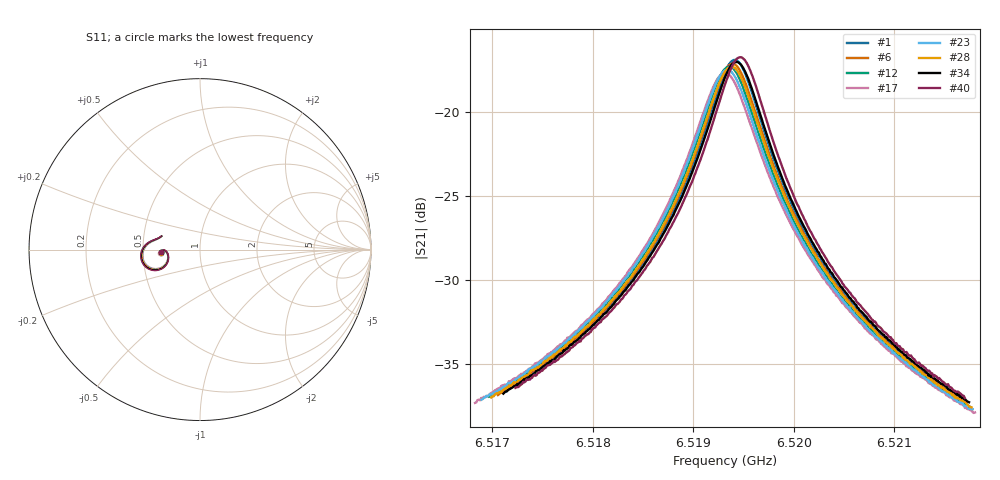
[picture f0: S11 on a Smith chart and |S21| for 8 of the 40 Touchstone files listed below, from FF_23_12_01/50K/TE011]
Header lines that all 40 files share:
#  HZ  S  RI  R  50.00
! Rohde & Schwarz Vector Network Analyzer
! Rohde-Schwarz,ZNB20-2Port,1311601062101988,3.16
! freq[Hz]  re:S11  im:S11  re:S21  im:S21  re:S12  im:S12  re:S22  im:S22
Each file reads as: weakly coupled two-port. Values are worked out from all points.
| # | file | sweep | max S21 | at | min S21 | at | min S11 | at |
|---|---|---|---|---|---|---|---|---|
| 1 | 1_1_48.1037_50.1338768_0.06_.s2p | 6.517138 GHz to 6.521684 GHz | -16.89 dB | 6.519411 GHz | -37.2 dB | 6.521684 GHz | -14.5 dB | 6.518991 GHz |
| 2 | 2_1_48.0978_50.1339569_0.09_.s2p | 6.517132 GHz to 6.521691 GHz | -16.89 dB | 6.519412 GHz | -37.2 dB | 6.521691 GHz | -14.5 dB | 6.519001 GHz |
| 3 | 4_1_48.0984_50.1341057_1135.621_.s2p | 6.517139 GHz to 6.521689 GHz | -16.88 dB | 6.519414 GHz | -37.2 dB | 6.521689 GHz | -14.4 dB | 6.519005 GHz |
| 4 | 19_1_48.1014_50.1323433_9984.517_.s2p | 6.517128 GHz to 6.521694 GHz | -16.90 dB | 6.519411 GHz | -37.2 dB | 6.521694 GHz | -14.5 dB | 6.519 GHz |
| 5 | 42_1_48.1018_50.1207581_24088.279_.s2p | 6.517072 GHz to 6.52171 GHz | -17.06 dB | 6.519391 GHz | -37.3 dB | 6.52171 GHz | -14.4 dB | 6.518974 GHz |
| 6 | 45_1_48.1027_50.1146088_26300.459_.s2p | 6.517056 GHz to 6.521722 GHz | -17.11 dB | 6.519389 GHz | -37.5 dB | 6.521722 GHz | -14.4 dB | 6.518969 GHz |
| 7 | 52_1_48.1005_50.1085739_30294.979_.s2p | 6.517046 GHz to 6.521721 GHz | -17.11 dB | 6.519384 GHz | -37.4 dB | 6.521698 GHz | -14.4 dB | 6.518963 GHz |
| 8 | 57_1_48.0976_50.1040878_33450.852_.s2p | 6.517036 GHz to 6.521723 GHz | -17.11 dB | 6.51938 GHz | -37.4 dB | 6.521711 GHz | -14.4 dB | 6.518934 GHz |
| 9 | 59_1_48.0997_50.1018982_34584.859_.s2p | 6.517037 GHz to 6.521718 GHz | -17.11 dB | 6.519378 GHz | -37.5 dB | 6.521718 GHz | -14.4 dB | 6.518968 GHz |
| 10 | 60_1_48.0996_50.1002312_35176.406_.s2p | 6.517037 GHz to 6.521717 GHz | -17.11 dB | 6.519377 GHz | -37.4 dB | 6.521717 GHz | -14.4 dB | 6.518956 GHz |
| 11 | 76_1_48.1026_50.0837631_44927.82_.s2p | 6.517011 GHz to 6.521719 GHz | -17.17 dB | 6.519365 GHz | -37.5 dB | 6.521707 GHz | -14.4 dB | 6.518941 GHz |
| 12 | 89_1_48.0998_50.0728683_52662.977_.s2p | 6.51697 GHz to 6.521744 GHz | -17.28 dB | 6.519357 GHz | -37.6 dB | 6.521744 GHz | -14.4 dB | 6.518915 GHz |
| 13 | 103_1_48.1044_50.0611458_61230.844_.s2p | 6.516937 GHz to 6.521757 GHz | -17.39 dB | 6.519347 GHz | -37.7 dB | 6.521745 GHz | -14.4 dB | 6.518913 GHz |
| 14 | 117_1_48.0993_50.0492134_69583.305_.s2p | 6.516894 GHz to 6.52178 GHz | -17.49 dB | 6.519337 GHz | -37.8 dB | 6.52178 GHz | -14.3 dB | 6.518909 GHz |
| 15 | 118_1_48.0977_50.0481567_70177.602_.s2p | 6.51689 GHz to 6.521781 GHz | -17.50 dB | 6.519336 GHz | -37.8 dB | 6.521781 GHz | -14.3 dB | 6.518908 GHz |
| 16 | 133_1_48.0968_50.0320702_79378.68_.s2p | 6.516858 GHz to 6.521789 GHz | -17.59 dB | 6.519324 GHz | -37.9 dB | 6.521777 GHz | -14.3 dB | 6.51888 GHz |
| 17 | 143_1_48.1004_50.0262222_85405.383_.s2p | 6.516828 GHz to 6.521802 GHz | -17.64 dB | 6.519315 GHz | -37.9 dB | 6.52179 GHz | -14.3 dB | 6.518892 GHz |
| 18 | 147_1_48.101_50.0213089_87733.609_.s2p | 6.516812 GHz to 6.52181 GHz | -17.67 dB | 6.519311 GHz | -38.0 dB | 6.521797 GHz | -14.3 dB | 6.518861 GHz |
| 19 | 151_1_48.0972_50.0175705_90004.641_.s2p | 6.516807 GHz to 6.521807 GHz | -17.67 dB | 6.519307 GHz | -37.9 dB | 6.521807 GHz | -14.3 dB | 6.518882 GHz |
| 20 | 156_1_48.101_50.0202179_87586.953_.s2p | 6.516826 GHz to 6.521796 GHz | -17.62 dB | 6.519311 GHz | -37.9 dB | 6.521796 GHz | -14.3 dB | 6.518889 GHz |
| 21 | 168_1_48.1003_50.0320816_80446.367_.s2p | 6.516848 GHz to 6.521789 GHz | -17.56 dB | 6.519319 GHz | -37.9 dB | 6.521789 GHz | -14.3 dB | 6.518886 GHz |
| 22 | 177_1_48.104_50.0440903_75053.367_.s2p | 6.516873 GHz to 6.521782 GHz | -17.51 dB | 6.51934 GHz | -37.8 dB | 6.52177 GHz | -14.4 dB | 6.518886 GHz |
| 23 | 184_1_48.0993_50.0512047_70778.695_.s2p | 6.516892 GHz to 6.521778 GHz | -17.48 dB | 6.519348 GHz | -37.7 dB | 6.521766 GHz | -14.4 dB | 6.518908 GHz |
| 24 | 193_1_48.1022_50.0607986_65356.273_.s2p | 6.51692 GHz to 6.521772 GHz | -17.42 dB | 6.519346 GHz | -37.7 dB | 6.521772 GHz | -14.4 dB | 6.518921 GHz |
| 25 | 199_1_48.0988_50.0673943_61960.344_.s2p | 6.51693 GHz to 6.521778 GHz | -17.39 dB | 6.519354 GHz | -37.8 dB | 6.521778 GHz | -14.4 dB | 6.51893 GHz |
| 26 | 205_1_48.0983_50.077877_58205.258_.s2p | 6.516952 GHz to 6.521773 GHz | -17.36 dB | 6.519362 GHz | -37.6 dB | 6.521761 GHz | -14.4 dB | 6.51894 GHz |
| 27 | 216_1_48.0981_50.0905876_51664.406_.s2p | 6.516985 GHz to 6.521768 GHz | -17.29 dB | 6.519376 GHz | -37.5 dB | 6.521768 GHz | -14.4 dB | 6.518958 GHz |
| 28 | 217_1_48.0981_50.0912704_51115.203_.s2p | 6.516987 GHz to 6.521768 GHz | -17.29 dB | 6.519378 GHz | -37.6 dB | 6.521768 GHz | -14.4 dB | 6.518947 GHz |
| 29 | 218_1_48.0997_50.0920258_50555.289_.s2p | 6.516993 GHz to 6.521766 GHz | -17.29 dB | 6.519379 GHz | -37.6 dB | 6.521766 GHz | -14.4 dB | 6.518961 GHz |
| 30 | 226_1_48.0992_50.1028366_45631.688_.s2p | 6.517013 GHz to 6.521764 GHz | -17.23 dB | 6.519389 GHz | -37.5 dB | 6.521764 GHz | -14.4 dB | 6.518973 GHz |
| 31 | 236_1_48.0994_50.1152878_39679.426_.s2p | 6.517049 GHz to 6.521753 GHz | -17.17 dB | 6.519401 GHz | -37.4 dB | 6.521753 GHz | -14.4 dB | 6.518989 GHz |
| 32 | 251_1_48.0955_50.1312828_30821.053_.s2p | 6.517085 GHz to 6.521751 GHz | -17.07 dB | 6.51943 GHz | -37.4 dB | 6.521751 GHz | -14.5 dB | 6.518998 GHz |
| 33 | 255_1_48.1002_50.1363716_28224.557_.s2p | 6.517102 GHz to 6.521744 GHz | -17.03 dB | 6.519423 GHz | -37.3 dB | 6.521744 GHz | -14.5 dB | 6.519017 GHz |
| 34 | 258_1_48.102_50.1388054_26507.484_.s2p | 6.51711 GHz to 6.521743 GHz | -17.01 dB | 6.519426 GHz | -37.3 dB | 6.521743 GHz | -14.5 dB | 6.519009 GHz |
| 35 | 259_1_48.1014_50.140934_25927.623_.s2p | 6.517121 GHz to 6.521734 GHz | -16.99 dB | 6.519428 GHz | -37.3 dB | 6.521723 GHz | -14.5 dB | 6.519013 GHz |
| 36 | 269_1_48.0987_50.1523895_19945.875_.s2p | 6.517157 GHz to 6.521723 GHz | -16.91 dB | 6.51944 GHz | -37.2 dB | 6.521711 GHz | -14.5 dB | 6.519018 GHz |
| 37 | 270_1_48.0983_50.1526413_19386.256_.s2p | 6.517156 GHz to 6.521727 GHz | -16.91 dB | 6.519441 GHz | -37.2 dB | 6.521704 GHz | -14.5 dB | 6.519019 GHz |
| 38 | 278_1_48.1005_50.1588783_14530.834_.s2p | 6.517188 GHz to 6.521713 GHz | -16.83 dB | 6.51945 GHz | -37.2 dB | 6.521713 GHz | -14.5 dB | 6.519032 GHz |
| 39 | 279_1_48.0994_50.1606255_13940.974_.s2p | 6.51719 GHz to 6.521712 GHz | -16.82 dB | 6.519451 GHz | -37.1 dB | 6.521712 GHz | -14.5 dB | 6.519033 GHz |
| 40 | 291_1_48.0974_50.1669159_6842.482_.s2p | 6.517229 GHz to 6.521701 GHz | -16.72 dB | 6.519465 GHz | -37.1 dB | 6.521701 GHz | -14.5 dB | 6.519063 GHz |
